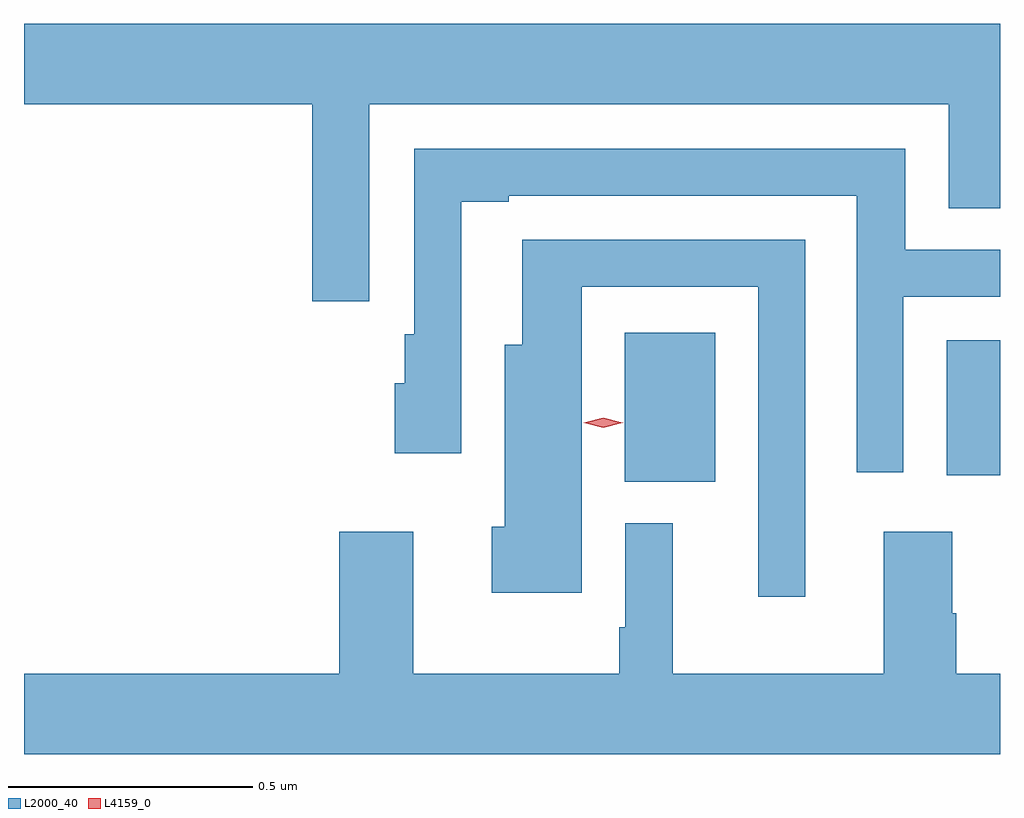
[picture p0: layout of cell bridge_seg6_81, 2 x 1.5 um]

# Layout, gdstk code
import gdstk
lib = gdstk.Library(unit=1e-6, precision=1e-09)
def R(c, l, rs):  # rectangles x0, y0, x1, y1
    for r in rs: c.add(gdstk.rectangle(r[:2], r[2:], *l))
def P(c, l, *ps):  # polygons
    for p in ps: c.add(gdstk.Polygon(p, *l))
L2000_40 = (2000, 40)
L4159_0 = (4159, 0)

bridge_seg6_81 = lib.new_cell('bridge_seg6_81')
R(bridge_seg6_81, L2000_40, [(747.212,966.542,747.397,966.847), (747.872,966.555,747.981,966.832)])
P(bridge_seg6_81, L2000_40, [(746.688,967.316),(747.876,967.316),(747.876,967.102),(747.981,967.102),(747.981,967.48),(745.981,967.48),(745.981,967.316),(746.572,967.316),(746.572,966.912),(746.688,966.912)],
  [(747.783,966.921),(747.981,966.921),(747.981,967.017),(747.787,967.017),(747.787,967.224),(746.781,967.224),(746.781,966.844),(746.761,966.844),(746.761,966.744),(746.741,966.744),(746.741,966.6),(746.877,966.6),(746.877,967.116),(746.974,967.116),(746.974,967.128),(747.687,967.128),(747.687,966.561),(747.783,966.561)],
  [(747.582,967.038),(747.002,967.038),(747.002,966.823),(746.966,966.823),(746.966,966.45),(746.939,966.45),(746.939,966.314),(747.124,966.314),(747.124,966.942),(747.486,966.942),(747.486,966.306),(747.582,966.306)],
  [(747.883,966.272),(747.883,966.439),(747.743,966.439),(747.743,966.148),(747.31,966.148),(747.31,966.457),(747.213,966.457),(747.213,966.244),(747.201,966.244),(747.201,966.148),(746.779,966.148),(746.779,966.439),(746.627,966.439),(746.627,966.148),(745.981,966.148),(745.981,965.984),(747.981,965.984),(747.981,966.148),(747.891,966.148),(747.891,966.272)])
P(bridge_seg6_81, L4159_0, [(747.168,966.653),(747.128,966.663),(747.128,966.663),(747.128,966.663),(747.168,966.673),(747.208,966.663),(747.209,966.663),(747.208,966.663)])

lib.write_gds('bridge_seg6_81.gds')
